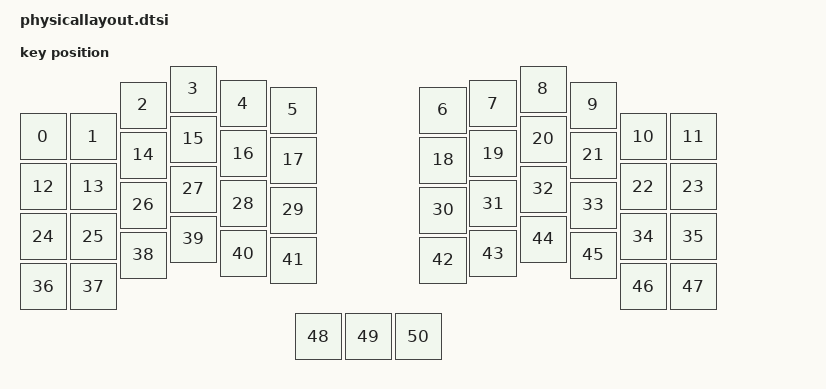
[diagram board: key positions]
#include <physical_layouts.dtsi>

/ {
    physical_layout0: physical_layout_0 {
        compatible = "zmk,physical-layout";
        display-name = "Default";

        kscan = <&kscan0>;
        transform = <&matrix_transform0>;

        keys  //                     w   h    x    y     rot    rx    ry
            = <&key_physical_attrs 100 100    0   95       0     0     0>
            , <&key_physical_attrs 100 100  100   95       0     0     0>
            , <&key_physical_attrs 100 100  200   32       0     0     0>
            , <&key_physical_attrs 100 100  300    0       0     0     0>
            , <&key_physical_attrs 100 100  400   29       0     0     0>
            , <&key_physical_attrs 100 100  500   42       0     0     0>
            , <&key_physical_attrs 100 100  800   42       0     0     0>
            , <&key_physical_attrs 100 100  900   29       0     0     0>
            , <&key_physical_attrs 100 100 1000    0       0     0     0>
            , <&key_physical_attrs 100 100 1100   32       0     0     0>
            , <&key_physical_attrs 100 100 1200   95       0     0     0>
            , <&key_physical_attrs 100 100 1300   95       0     0     0>
            , <&key_physical_attrs 100 100    0  195       0     0     0>
            , <&key_physical_attrs 100 100  100  195       0     0     0>
            , <&key_physical_attrs 100 100  200  132       0     0     0>
            , <&key_physical_attrs 100 100  300  100       0     0     0>
            , <&key_physical_attrs 100 100  400  129       0     0     0>
            , <&key_physical_attrs 100 100  500  142       0     0     0>
            , <&key_physical_attrs 100 100  800  142       0     0     0>
            , <&key_physical_attrs 100 100  900  129       0     0     0>
            , <&key_physical_attrs 100 100 1000  100       0     0     0>
            , <&key_physical_attrs 100 100 1100  132       0     0     0>
            , <&key_physical_attrs 100 100 1200  195       0     0     0>
            , <&key_physical_attrs 100 100 1300  195       0     0     0>
            , <&key_physical_attrs 100 100    0  295       0     0     0>
            , <&key_physical_attrs 100 100  100  295       0     0     0>
            , <&key_physical_attrs 100 100  200  232       0     0     0>
            , <&key_physical_attrs 100 100  300  200       0     0     0>
            , <&key_physical_attrs 100 100  400  229       0     0     0>
            , <&key_physical_attrs 100 100  500  242       0     0     0>
            , <&key_physical_attrs 100 100  800  242       0     0     0>
            , <&key_physical_attrs 100 100  900  229       0     0     0>
            , <&key_physical_attrs 100 100 1000  200       0     0     0>
            , <&key_physical_attrs 100 100 1100  232       0     0     0>
            , <&key_physical_attrs 100 100 1200  295       0     0     0>
            , <&key_physical_attrs 100 100 1300  295       0     0     0>
            , <&key_physical_attrs 100 100    0  395       0     0     0>
            , <&key_physical_attrs 100 100  100  395       0     0     0>
            , <&key_physical_attrs 100 100  200  332       0     0     0>
            , <&key_physical_attrs 100 100  300  300       0     0     0>
            , <&key_physical_attrs 100 100  400  329       0     0     0>
            , <&key_physical_attrs 100 100  500  342       0     0     0>
            , <&key_physical_attrs 100 100  800  342       0     0     0>
            , <&key_physical_attrs 100 100  900  329       0     0     0>
            , <&key_physical_attrs 100 100 1000  300       0     0     0>
            , <&key_physical_attrs 100 100 1100  332       0     0     0>
            , <&key_physical_attrs 100 100 1200  395       0     0     0>
            , <&key_physical_attrs 100 100 1300  395       0     0     0>
            , <&key_physical_attrs 100 100  550  495       0     0     0>
            , <&key_physical_attrs 100 100  650  495       0     0     0>
            , <&key_physical_attrs 100 100  750  495       0     0     0>
            ;
    };
};
